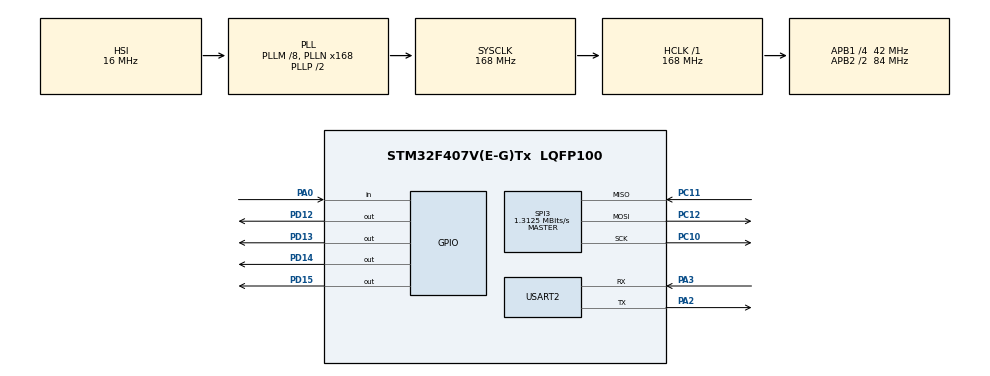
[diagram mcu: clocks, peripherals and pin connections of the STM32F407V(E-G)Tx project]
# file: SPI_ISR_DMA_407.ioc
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Dma.Request0=SPI3_RX
Dma.Request1=SPI3_TX
Dma.SPI3_RX.0.Direction=DMA_PERIPH_TO_MEMORY
Dma.SPI3_RX.0.FIFOMode=DMA_FIFOMODE_DISABLE
Dma.SPI3_RX.0.Instance=DMA1_Stream0
Dma.SPI3_RX.0.MemDataAlignment=DMA_MDATAALIGN_BYTE
Dma.SPI3_RX.0.MemInc=DMA_MINC_ENABLE
Dma.SPI3_RX.0.Mode=DMA_NORMAL
Dma.SPI3_RX.0.PeriphDataAlignment=DMA_PDATAALIGN_BYTE
Dma.SPI3_RX.0.PeriphInc=DMA_PINC_DISABLE
Dma.SPI3_RX.0.Priority=DMA_PRIORITY_LOW
Dma.SPI3_TX.1.Direction=DMA_MEMORY_TO_PERIPH
Dma.SPI3_TX.1.FIFOMode=DMA_FIFOMODE_DISABLE
Dma.SPI3_TX.1.Instance=DMA1_Stream5
Dma.SPI3_TX.1.MemDataAlignment=DMA_MDATAALIGN_BYTE
Dma.SPI3_TX.1.MemInc=DMA_MINC_ENABLE
Dma.SPI3_TX.1.Mode=DMA_NORMAL
Dma.SPI3_TX.1.PeriphDataAlignment=DMA_PDATAALIGN_BYTE
Dma.SPI3_TX.1.PeriphInc=DMA_PINC_DISABLE
Dma.SPI3_TX.1.Priority=DMA_PRIORITY_LOW
Mcu.Family=STM32F4
Mcu.Name=STM32F407V(E-G)Tx
Mcu.Package=LQFP100
NVIC.DMA1_Stream0_IRQn=true\:0\:0\:false\:false\:true\:false\:true
NVIC.DMA1_Stream5_IRQn=true\:0\:0\:false\:false\:true\:false\:true
NVIC.PriorityGroup=NVIC_PRIORITYGROUP_0
NVIC.SPI3_IRQn=true\:0\:0\:false\:false\:true\:true\:true
NVIC.TIM1_UP_TIM10_IRQn=true\:0\:0\:false\:false\:true\:false\:true
NVIC.TimeBase=TIM1_UP_TIM10_IRQn
NVIC.TimeBaseIP=TIM1
PA0-WKUP.Signal=GPIO_Input
PA2.Mode=Asynchronous
PA2.Signal=USART2_TX
PA3.Mode=Asynchronous
PA3.Signal=USART2_RX
PC10.Mode=Full_Duplex_Master
PC10.Signal=SPI3_SCK
PC11.Mode=Full_Duplex_Master
PC11.Signal=SPI3_MISO
PC12.Mode=Full_Duplex_Master
PC12.Signal=SPI3_MOSI
PD12.Signal=GPIO_Output
PD13.Signal=GPIO_Output
PD14.Signal=GPIO_Output
PD15.Signal=GPIO_Output
PH0-OSC_IN.Mode=HSE-External-Clock-Source
PH0-OSC_IN.Signal=RCC_OSC_IN
PH1-OSC_OUT.Mode=HSE-External-Clock-Source
PH1-OSC_OUT.Signal=RCC_OSC_OUT
ProjectManager.HeapSize=0x200
ProjectManager.StackSize=0x400
ProjectManager.TargetToolchain=STM32CubeIDE
RCC.48MHZClocksFreq_Value=48000000
RCC.AHBFreq_Value=168000000
RCC.APB1CLKDivider=RCC_HCLK_DIV4
RCC.APB1Freq_Value=42000000
RCC.APB1TimFreq_Value=84000000
RCC.APB2CLKDivider=RCC_HCLK_DIV2
RCC.APB2Freq_Value=84000000
RCC.APB2TimFreq_Value=168000000
RCC.CortexFreq_Value=168000000
RCC.HCLKFreq_Value=168000000
RCC.HSE_VALUE=8000000
RCC.HSI_VALUE=16000000
RCC.LSE_VALUE=32768
RCC.PLLM=8
RCC.PLLN=168
RCC.PLLQ=7
RCC.SYSCLKFreq_VALUE=168000000
RCC.SYSCLKSource=RCC_SYSCLKSOURCE_PLLCLK
RCC.VCOOutputFreq_Value=336000000
SPI3.BaudRatePrescaler=SPI_BAUDRATEPRESCALER_32
SPI3.CalculateBaudRate=1.3125 MBits/s
SPI3.Direction=SPI_DIRECTION_2LINES
SPI3.Mode=SPI_MODE_MASTER
SPI3.VirtualType=VM_MASTER
USART2.VirtualMode=VM_ASYNC
VP_SYS_VS_tim1.Mode=TIM1
board=STM32F407G-DISC1

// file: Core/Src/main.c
/* USER CODE BEGIN Header */
/**
  ******************************************************************************
  * @file           : main.c
  * @brief          : Main program body
  ******************************************************************************
  * @attention
  *
  * <h2><center>&copy; Copyright (c) 2023 STMicroelectronics.
  * All rights reserved.</center></h2>
  *
  * This software component is licensed by ST under Ultimate Liberty license
  * SLA0044, the "License"; You may not use this file except in compliance with
  * the License. You may obtain a copy of the License at:
  *                             www.st.com/SLA0044
  *
  ******************************************************************************
  */
/* USER CODE END Header */
#include "main.h"

/* USER CODE BEGIN Includes */
#include <stdio.h>
#include <string.h>
/* USER CODE END Includes */

/* USER CODE BEGIN PTD */

#ifdef __GNUC__

 #define PUTCHAR_PROTOTYPE int __io_putchar(int ch)

#else
  #define PUTCHAR_PROTOTYPE int fputc(int ch, FILE *f)

#endif /* __GNUC__ */

#define FALSE 0
#define TRUE 1

/* USER CODE END PTD */

SPI_HandleTypeDef hspi3;
DMA_HandleTypeDef hdma_spi3_rx;
DMA_HandleTypeDef hdma_spi3_tx;

UART_HandleTypeDef huart2;

void SystemClock_Config(void);
static void MX_GPIO_Init(void);
static void MX_DMA_Init(void);
static void MX_USART2_UART_Init(void);
static void MX_SPI3_Init(void);

/* USER CODE BEGIN 0 */
char Tx_Data[20]={0}, Rx_Data[20]={0},Rx_msg=0;
uint8_t flag=FALSE,i=0;
uint8_t pin_status=0;
/* USER CODE END 0 */

int main(void)
{

  /* MCU Configuration--------------------------------------------------------*/

  /* Reset of all peripherals, Initializes the Flash interface and the Systick. */
  HAL_Init();

  /* Configure the system clock */
  SystemClock_Config();

  /* Initialize all configured peripherals */
  MX_GPIO_Init();
  MX_DMA_Init();
  MX_USART2_UART_Init();
  MX_SPI3_Init();
  /* USER CODE BEGIN 2 */
  sprintf((char *)Tx_Data, "ready to send\r\n");
  HAL_SPI_Transmit(&hspi3,(uint8_t *)Tx_Data,15,50);
  /* USER CODE END 2 */

  /* Infinite loop */
  /* USER CODE BEGIN WHILE */
  while (1)
  {

	  	  pin_status= HAL_GPIO_ReadPin(GPIOA, GPIO_PIN_0);

	  	  if (pin_status)
	  	  {
	  		  sprintf((char *)Tx_Data, "data transmit\r\n");
	      	  HAL_SPI_Transmit(&hspi3,(uint8_t *)Tx_Data,15,50);

	      	  flag=TRUE;
	  	  }

	  	  if(flag)
	  	  {
	  		  HAL_SPI_Receive_DMA(&hspi3, (uint8_t *)Rx_Data, 15);
//	  		  HAL_SPI_Receive(&hspi3,(uint8_t *)&Rx_msg, 1,50);
//	  		  printf("%c",Rx_msg);
//	  		  Rx_Data[i++]=Rx_msg;
//
//	  		  if(i>25)
//	  		  {
//	  			  i=0;
//	  			  printf("\r\n");
//	  		  }
	  		  flag=FALSE;
	  	  }

	  	  HAL_Delay(500);
    /* USER CODE END WHILE */

  }
}

void SystemClock_Config(void)
{
  RCC_OscInitTypeDef RCC_OscInitStruct = {0};
  RCC_ClkInitTypeDef RCC_ClkInitStruct = {0};

  /** Configure the main internal regulator output voltage
  */
  __HAL_RCC_PWR_CLK_ENABLE();
  __HAL_PWR_VOLTAGESCALING_CONFIG(PWR_REGULATOR_VOLTAGE_SCALE1);
  /** Initializes the RCC Oscillators according to the specified parameters
  * in the RCC_OscInitTypeDef structure.
  */
  RCC_OscInitStruct.OscillatorType = RCC_OSCILLATORTYPE_HSI;
  RCC_OscInitStruct.HSIState = RCC_HSI_ON;
  RCC_OscInitStruct.HSICalibrationValue = RCC_HSICALIBRATION_DEFAULT;
  RCC_OscInitStruct.PLL.PLLState = RCC_PLL_ON;
  RCC_OscInitStruct.PLL.PLLSource = RCC_PLLSOURCE_HSI;
  RCC_OscInitStruct.PLL.PLLM = 8;
  RCC_OscInitStruct.PLL.PLLN = 168;
  RCC_OscInitStruct.PLL.PLLP = RCC_PLLP_DIV2;
  RCC_OscInitStruct.PLL.PLLQ = 7;
  if (HAL_RCC_OscConfig(&RCC_OscInitStruct) != HAL_OK)
  {
    Error_Handler();
  }
  /** Initializes the CPU, AHB and APB buses clocks
  */
  RCC_ClkInitStruct.ClockType = RCC_CLOCKTYPE_HCLK|RCC_CLOCKTYPE_SYSCLK
                              |RCC_CLOCKTYPE_PCLK1|RCC_CLOCKTYPE_PCLK2;
  RCC_ClkInitStruct.SYSCLKSource = RCC_SYSCLKSOURCE_PLLCLK;
  RCC_ClkInitStruct.AHBCLKDivider = RCC_SYSCLK_DIV1;
  RCC_ClkInitStruct.APB1CLKDivider = RCC_HCLK_DIV4;
  RCC_ClkInitStruct.APB2CLKDivider = RCC_HCLK_DIV2;

  if (HAL_RCC_ClockConfig(&RCC_ClkInitStruct, FLASH_LATENCY_5) != HAL_OK)
  {
    Error_Handler();
  }
}

static void MX_SPI3_Init(void)
{

  /* SPI3 parameter configuration*/
  hspi3.Instance = SPI3;
  hspi3.Init.Mode = SPI_MODE_MASTER;
  hspi3.Init.Direction = SPI_DIRECTION_2LINES;
  hspi3.Init.DataSize = SPI_DATASIZE_8BIT;
  hspi3.Init.CLKPolarity = SPI_POLARITY_LOW;
  hspi3.Init.CLKPhase = SPI_PHASE_1EDGE;
  hspi3.Init.NSS = SPI_NSS_SOFT;
  hspi3.Init.BaudRatePrescaler = SPI_BAUDRATEPRESCALER_32;
  hspi3.Init.FirstBit = SPI_FIRSTBIT_MSB;
  hspi3.Init.TIMode = SPI_TIMODE_DISABLE;
  hspi3.Init.CRCCalculation = SPI_CRCCALCULATION_DISABLE;
  hspi3.Init.CRCPolynomial = 10;
  if (HAL_SPI_Init(&hspi3) != HAL_OK)
  {
    Error_Handler();
  }

}

static void MX_USART2_UART_Init(void)
{

  huart2.Instance = USART2;
  huart2.Init.BaudRate = 115200;
  huart2.Init.WordLength = UART_WORDLENGTH_8B;
  huart2.Init.StopBits = UART_STOPBITS_1;
  huart2.Init.Parity = UART_PARITY_NONE;
  huart2.Init.Mode = UART_MODE_TX_RX;
  huart2.Init.HwFlowCtl = UART_HWCONTROL_NONE;
  huart2.Init.OverSampling = UART_OVERSAMPLING_16;
  if (HAL_UART_Init(&huart2) != HAL_OK)
  {
    Error_Handler();
  }

}

static void MX_DMA_Init(void)
{

  /* DMA controller clock enable */
  __HAL_RCC_DMA1_CLK_ENABLE();

  /* DMA interrupt init */
  /* DMA1_Stream0_IRQn interrupt configuration */
  HAL_NVIC_SetPriority(DMA1_Stream0_IRQn, 0, 0);
  HAL_NVIC_EnableIRQ(DMA1_Stream0_IRQn);
  /* DMA1_Stream5_IRQn interrupt configuration */
  HAL_NVIC_SetPriority(DMA1_Stream5_IRQn, 0, 0);
  HAL_NVIC_EnableIRQ(DMA1_Stream5_IRQn);

}

static void MX_GPIO_Init(void)
{
  GPIO_InitTypeDef GPIO_InitStruct = {0};

  /* GPIO Ports Clock Enable */
  __HAL_RCC_GPIOH_CLK_ENABLE();
  __HAL_RCC_GPIOA_CLK_ENABLE();
  __HAL_RCC_GPIOD_CLK_ENABLE();
  __HAL_RCC_GPIOC_CLK_ENABLE();

  /*Configure GPIO pin Output Level */
  HAL_GPIO_WritePin(GPIOD, GPIO_PIN_12|GPIO_PIN_13|GPIO_PIN_14|GPIO_PIN_15, GPIO_PIN_RESET);

  /*Configure GPIO pin : PA0 */
  GPIO_InitStruct.Pin = GPIO_PIN_0;
  GPIO_InitStruct.Mode = GPIO_MODE_INPUT;
  GPIO_InitStruct.Pull = GPIO_NOPULL;
  HAL_GPIO_Init(GPIOA, &GPIO_InitStruct);

  /*Configure GPIO pins : PD12 PD13 PD14 PD15 */
  GPIO_InitStruct.Pin = GPIO_PIN_12|GPIO_PIN_13|GPIO_PIN_14|GPIO_PIN_15;
  GPIO_InitStruct.Mode = GPIO_MODE_OUTPUT_PP;
  GPIO_InitStruct.Pull = GPIO_NOPULL;
  GPIO_InitStruct.Speed = GPIO_SPEED_FREQ_LOW;
  HAL_GPIO_Init(GPIOD, &GPIO_InitStruct);

}

/* USER CODE BEGIN 4 */
void HAL_SPI_RxCpltCallback(SPI_HandleTypeDef *hspi)
{
	printf("%s\r\n",Rx_Data);
	 // HAL_UART_Transmit(&huart2, (uint8_t *)Rx_Data, sizeof(Rx_Data), 500);
	flag=TRUE;
}

PUTCHAR_PROTOTYPE
{

  HAL_UART_Transmit(&huart2, (uint8_t *)&ch, 1, HAL_MAX_DELAY);

  return ch;
}
/* USER CODE END 4 */

void HAL_TIM_PeriodElapsedCallback(TIM_HandleTypeDef *htim)
{
  if (htim->Instance == TIM1) {
    HAL_IncTick();
  }
}

void Error_Handler(void)
{
  __disable_irq();
  while (1)
  {
  }
}

/************************ (C) COPYRIGHT STMicroelectronics *****END OF FILE****/
